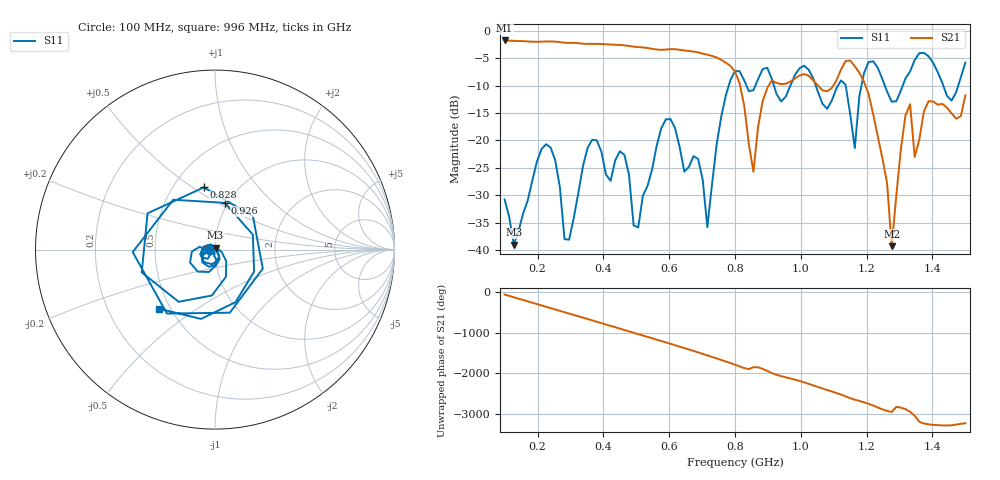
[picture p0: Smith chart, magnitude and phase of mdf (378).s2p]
! NanoVNA-App
! Date: 2025-09-25 15:41:22
! Start: 100MHz Stop: 1,5GHz Points: 101
! S-Parameter data: F S11 S21 S12 S22
# Hz S RI R 50
!  Frequency  S11_Real  S11_Imag  S21_Real  S21_Imag  S12_Real  S12_Imag  S22_Real  S22_Imag
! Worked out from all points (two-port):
!   101 points, 100 MHz to 1.5 GHz, reference 50 ohm
!   highest |S21| = -1.80 dB at 100 MHz (marker M1); lowest = -39.2 dB at 1.276 GHz (marker M2)
!   |S21| within 3 dB of the highest: start of sweep to 739.5 MHz
!   lowest |S11| = -39.0 dB at 128 MHz (marker M3), VSWR 1.02, Z = 50.3 + j1.08 ohm
!   |S11| at or under -10 dB: start of sweep to 781.1 MHz; 918.2 MHz to 968.4 MHz (50.18 MHz wide, 5.32 % of centre); 1.045 GHz to 1.113 GHz (67.96 MHz wide, 6.3 % of centre) (the widest 3 of 7)
!   S12 and S22 are empty: the file has one direction only
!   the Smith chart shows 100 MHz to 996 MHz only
!   S11 on the Smith chart (normalised r, x): 100 MHz: 0.94, -0.01; 828 MHz: 0.70, +0.56; 926 MHz: 0.97, +0.54; 996 MHz: 0.43, -0.36
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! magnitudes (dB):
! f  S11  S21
! 100 MHz  -30.7  -1.8
! 128 MHz  -39.0  -1.9
! 212 MHz  -21.6  -2.0
! 282 MHz  -37.9  -2.2
! 338 MHz  -24.7  -2.4
! 464 MHz  -22.6  -2.7
! 506 MHz  -35.8  -3.0
! 576 MHz  -17.8  -3.5
! 688 MHz  -23.4  -4.0
! 716 MHz  -35.8  -4.4
! 800 MHz  -7.4  -7.4
! 828 MHz  -9.1  -13.7
! 856 MHz  -10.9  -25.7
! 926 MHz  -11.5  -9.5
! 996 MHz  -6.9  -8.2
! 1.038 GHz  -8.7  -9.1
! 1.164 GHz  -21.4  -6.5
! 1.192 GHz  -7.7  -9.3
! 1.276 GHz  -12.9  -39.2
! 1.332 GHz  -7.4  -13.4
! 1.346 GHz  -5.4  -23.0
! 1.5 GHz  -5.8  -11.8
